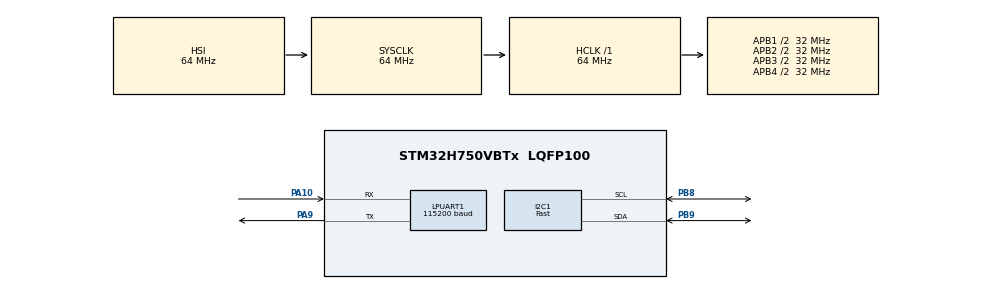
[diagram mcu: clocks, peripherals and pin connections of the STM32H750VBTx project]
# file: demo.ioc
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I2C1.I2C_Fall_Time=0
I2C1.I2C_Rise_Time=0
I2C1.I2C_Speed_Mode=I2C_Fast
I2C1.Speed=400
I2C1.Timing=0x00300F38
LPUART1.BaudRate=115200
Mcu.Family=STM32H7
Mcu.Name=STM32H750VBTx
Mcu.Package=LQFP100
NVIC.PriorityGroup=NVIC_PRIORITYGROUP_4
PA10.Mode=Asynchronous
PA10.Signal=LPUART1_RX
PA9.Mode=Asynchronous
PA9.Signal=LPUART1_TX
PB8.Mode=I2C
PB8.Signal=I2C1_SCL
PB9.Mode=I2C
PB9.Signal=I2C1_SDA
PC14-OSC32_IN\ (OSC32_IN).Mode=LSE-External-Oscillator
PC14-OSC32_IN\ (OSC32_IN).Signal=RCC_OSC32_IN
PC15-OSC32_OUT\ (OSC32_OUT).Mode=LSE-External-Oscillator
PC15-OSC32_OUT\ (OSC32_OUT).Signal=RCC_OSC32_OUT
PH0-OSC_IN\ (PH0).Mode=HSE-External-Oscillator
PH0-OSC_IN\ (PH0).Signal=RCC_OSC_IN
PH1-OSC_OUT\ (PH1).Mode=HSE-External-Oscillator
PH1-OSC_OUT\ (PH1).Signal=RCC_OSC_OUT
ProjectManager.HeapSize=0x200
ProjectManager.StackSize=0x400
ProjectManager.TargetToolchain=MDK-ARM V5.32
RCC.ADCFreq_Value=129000000
RCC.APB1Freq_Value=32000000
RCC.APB2Freq_Value=32000000
RCC.APB3Freq_Value=32000000
RCC.APB4Freq_Value=32000000
RCC.CortexFreq_Value=64000000
RCC.D1PPRE=RCC_APB3_DIV2
RCC.D2PPRE1=RCC_APB1_DIV2
RCC.D2PPRE2=RCC_APB2_DIV2
RCC.D3PPRE=RCC_APB4_DIV2
RCC.HCLKFreq_Value=64000000
RCC.SYSCLKFreq_VALUE=64000000
RCC.USBFreq_Value=129000000
board=custom

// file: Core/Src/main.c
/* USER CODE BEGIN Header */
/**
  ******************************************************************************
  * @file           : main.c
  * @brief          : Main program body
  ******************************************************************************
  * @attention
  *
  * Copyright (c) 2023 STMicroelectronics.
  * All rights reserved.
  *
  * This software is licensed under terms that can be found in the LICENSE file
  * in the root directory of this software component.
  * If no LICENSE file comes with this software, it is provided AS-IS.
  *
  ******************************************************************************
  */
/* USER CODE END Header */
#include "main.h"
#include "i2c.h"
#include "usart.h"
#include "gpio.h"

/* USER CODE BEGIN Includes */
#include <stdio.h>
#include <string.h>
/* USER CODE END Includes */

/* USER CODE BEGIN PD */
#define ADDR_AT24C02_Write 0xA0
#define ADDR_AT24C02_Read 0xA1
uint8_t I2C_Buffer_Write[256];
uint8_t I2C_Buffer_Read[256];
uint16_t i;
/* USER CODE END PD */

void SystemClock_Config(void);

int main(void)
{

  /* MCU Configuration--------------------------------------------------------*/

  /* Reset of all peripherals, Initializes the Flash interface and the Systick. */
  HAL_Init();

  /* Configure the system clock */
  SystemClock_Config();

  /* Initialize all configured peripherals */
  MX_GPIO_Init();
  MX_LPUART1_UART_Init();
  MX_I2C1_Init();

  /* Infinite loop */
  while (1)
  {

    /* USER CODE BEGIN 3 */
		printf("\r\n \r\n*********STM32CubeMX I2C AT24C02 Example*********\r\n");
	  printf("\r\n I2C Write Buffer:\r\n");
	  for(i=0; i<256; i++)
	  {
		  I2C_Buffer_Write[i]=i;    /* WriteBuffer Initialization */
		  printf("%02X ", I2C_Buffer_Write[i]);

	  }

	  /* write data to AT24C02 */
	  for(i=0; i<256; i=i+8)
	  {
		  if (HAL_I2C_Mem_Write(&hi2c1, ADDR_AT24C02_Write, i, I2C_MEMADD_SIZE_8BIT,&(I2C_Buffer_Write[i]),8, 1000) == HAL_OK)
		  {
			  printf("\r\n Byte %02d to Byte %02d Write OK",i,i+7);
			  HAL_Delay(5);//不能少
		  }

		  else
			  printf("\r\n Byte %02d to Byte %02d Write Failed",i,i+7);
	  }

	  /* read data from EEPROM */
	  printf("\r\n Reading from AT24C02:\r\n");
	  HAL_I2C_Mem_Read(&hi2c1, ADDR_AT24C02_Read, 0, I2C_MEMADD_SIZE_8BIT,I2C_Buffer_Read,256, 1000);

	  for(i=0; i<256; i++)
	  {
		  printf("0x%02X  ",I2C_Buffer_Read[i]);
	  }
	  HAL_Delay(2000);
//

	  if(memcmp(I2C_Buffer_Read,I2C_Buffer_Write,256) == 0 ) /* check data */
			printf("\r\n AT24C02 Read Test OK DATA\r\n");
	  else
	      printf("\r\n AT24C02 Read Test Failed\r\n");
  }
  /* USER CODE END 3 */
}

void SystemClock_Config(void)
{
  RCC_OscInitTypeDef RCC_OscInitStruct = {0};
  RCC_ClkInitTypeDef RCC_ClkInitStruct = {0};

  /** Supply configuration update enable
  */
  HAL_PWREx_ConfigSupply(PWR_LDO_SUPPLY);

  /** Configure the main internal regulator output voltage
  */
  __HAL_PWR_VOLTAGESCALING_CONFIG(PWR_REGULATOR_VOLTAGE_SCALE3);

  while(!__HAL_PWR_GET_FLAG(PWR_FLAG_VOSRDY)) {}

  /** Initializes the RCC Oscillators according to the specified parameters
  * in the RCC_OscInitTypeDef structure.
  */
  RCC_OscInitStruct.OscillatorType = RCC_OSCILLATORTYPE_HSI;
  RCC_OscInitStruct.HSIState = RCC_HSI_DIV1;
  RCC_OscInitStruct.HSICalibrationValue = RCC_HSICALIBRATION_DEFAULT;
  RCC_OscInitStruct.PLL.PLLState = RCC_PLL_NONE;
  if (HAL_RCC_OscConfig(&RCC_OscInitStruct) != HAL_OK)
  {
    Error_Handler();
  }

  /** Initializes the CPU, AHB and APB buses clocks
  */
  RCC_ClkInitStruct.ClockType = RCC_CLOCKTYPE_HCLK|RCC_CLOCKTYPE_SYSCLK
                              |RCC_CLOCKTYPE_PCLK1|RCC_CLOCKTYPE_PCLK2
                              |RCC_CLOCKTYPE_D3PCLK1|RCC_CLOCKTYPE_D1PCLK1;
  RCC_ClkInitStruct.SYSCLKSource = RCC_SYSCLKSOURCE_HSI;
  RCC_ClkInitStruct.SYSCLKDivider = RCC_SYSCLK_DIV1;
  RCC_ClkInitStruct.AHBCLKDivider = RCC_HCLK_DIV1;
  RCC_ClkInitStruct.APB3CLKDivider = RCC_APB3_DIV2;
  RCC_ClkInitStruct.APB1CLKDivider = RCC_APB1_DIV2;
  RCC_ClkInitStruct.APB2CLKDivider = RCC_APB2_DIV2;
  RCC_ClkInitStruct.APB4CLKDivider = RCC_APB4_DIV2;

  if (HAL_RCC_ClockConfig(&RCC_ClkInitStruct, FLASH_LATENCY_1) != HAL_OK)
  {
    Error_Handler();
  }
}

void Error_Handler(void)
{
  __disable_irq();
  while (1)
  {
  }
}
